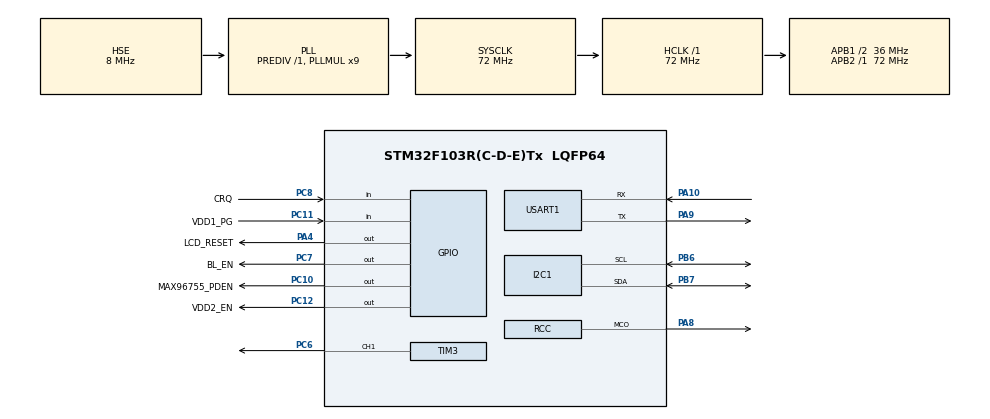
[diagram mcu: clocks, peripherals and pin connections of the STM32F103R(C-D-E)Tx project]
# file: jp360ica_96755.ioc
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I2C1.DualAddressMode=I2C_DUALADDRESS_DISABLE
I2C1.GeneralCallMode=I2C_GENERALCALL_DISABLE
I2C1.I2C_Mode=I2C_Standard
I2C1.NoStretchMode=I2C_NOSTRETCH_DISABLE
Mcu.Family=STM32F1
Mcu.Name=STM32F103R(C-D-E)Tx
Mcu.Package=LQFP64
NVIC.PriorityGroup=NVIC_PRIORITYGROUP_4
PA10.Mode=Asynchronous
PA10.Signal=USART1_RX
PA13.Mode=Serial_Wire
PA13.Signal=SYS_JTMS-SWDIO
PA14.Mode=Serial_Wire
PA14.Signal=SYS_JTCK-SWCLK
PA4.GPIO_Label=LCD_RESET
PA4.Signal=GPIO_Output
PA8.Mode=Clock-out
PA8.Signal=RCC_MCO
PA9.Mode=Asynchronous
PA9.Signal=USART1_TX
PB6.Mode=I2C
PB6.Signal=I2C1_SCL
PB7.Mode=I2C
PB7.Signal=I2C1_SDA
PC10.GPIO_Label=MAX96755_PDEN
PC10.GPIO_Speed=GPIO_SPEED_FREQ_HIGH
PC10.Signal=GPIO_Output
PC11.GPIO_Label=VDD1_PG
PC11.Signal=GPIO_Input
PC12.GPIO_Label=VDD2_EN
PC12.GPIO_Speed=GPIO_SPEED_FREQ_HIGH
PC12.Signal=GPIO_Output
PC6.Signal=S_TIM3_CH1
PC7.GPIO_Label=BL_EN
PC7.Signal=GPIO_Output
PC8.GPIO_Label=CRQ
PC8.GPIO_PuPd=GPIO_PULLUP
PC8.Signal=GPIO_Input
PD0-OSC_IN.Mode=HSE-External-Oscillator
PD0-OSC_IN.Signal=RCC_OSC_IN
PD1-OSC_OUT.Mode=HSE-External-Oscillator
PD1-OSC_OUT.Signal=RCC_OSC_OUT
ProjectManager.HeapSize=0x200
ProjectManager.StackSize=0x400
ProjectManager.TargetToolchain=MDK-ARM V5
RCC.AHBFreq_Value=72000000
RCC.APB1CLKDivider=RCC_HCLK_DIV2
RCC.APB1Freq_Value=36000000
RCC.APB1TimFreq_Value=72000000
RCC.APB2Freq_Value=72000000
RCC.APB2TimFreq_Value=72000000
RCC.HCLKFreq_Value=72000000
RCC.PLLMUL=RCC_PLL_MUL9
RCC.PLLSourceVirtual=RCC_PLLSOURCE_HSE
RCC.RCC_MCOSource=RCC_MCO1SOURCE_PLLCLK
RCC.SYSCLKFreq_VALUE=72000000
RCC.SYSCLKSource=RCC_SYSCLKSOURCE_PLLCLK
RCC.USBFreq_Value=72000000
SH.S_TIM3_CH1.0=TIM3_CH1,PWM Generation1 CH1
TIM3.Channel-PWM\ Generation1\ CH1=TIM_CHANNEL_1
TIM3.Period=1000-1
TIM3.Prescaler=72-1
USART1.VirtualMode=VM_ASYNC
VP_TIM3_VS_ClockSourceINT.Mode=Internal
board=custom

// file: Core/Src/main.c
/* USER CODE BEGIN Header */
/**
  ******************************************************************************
  * @file           : main.c
  * @brief          : Main program body
  ******************************************************************************
  * @attention
  *
  * Copyright (c) 2024 STMicroelectronics.
  * All rights reserved.
  *
  * This software is licensed under terms that can be found in the LICENSE file
  * in the root directory of this software component.
  * If no LICENSE file comes with this software, it is provided AS-IS.
  *
  ******************************************************************************
  */
/* USER CODE END Header */
#include "main.h"

/* USER CODE BEGIN Includes */
#include "task.h"
#include "MAX96755.h"
/* USER CODE END Includes */

I2C_HandleTypeDef hi2c1;

TIM_HandleTypeDef htim3;

UART_HandleTypeDef huart1;

/* USER CODE BEGIN PV */
__attribute__((used)) uint64_t i = 0x1122334455667788;

// --- 新增：极简通讯指令标志位 ---
volatile uint8_t rx_cmd_ready = 0;
volatile uint8_t rx_cmd_val = 0;
volatile uint8_t rx_screen_res = 0;
volatile uint8_t rx_lvds_mode = 0;
volatile uint8_t rx_screen_pattern = 0;
volatile uint16_t rx_timing_ha = 0;
volatile uint16_t rx_timing_va = 0;
volatile uint16_t rx_timing_fps_x10 = 0;
volatile uint32_t rx_timing_pclk_hz = 0;
volatile uint16_t rx_timing_hbp = 0;
volatile uint16_t rx_timing_hfp = 0;
volatile uint16_t rx_timing_vbp = 0;
volatile uint16_t rx_timing_vfp = 0;
volatile uint8_t rx_timing_lvds = 0;
volatile uint8_t rx_timing_pattern = 0;
/* USER CODE END PV */

void SystemClock_Config(void);
static void MX_GPIO_Init(void);
static void MX_I2C1_Init(void);
static void MX_USART1_UART_Init(void);
static void MX_TIM3_Init(void);

/* USER CODE BEGIN 0 */

void waitforiotimeout(GPIO_PinState level, uint32_t timeout)
{
  uint32_t start = HAL_GetTick();
  GPIO_PinState state = HAL_GPIO_ReadPin(CRQ_GPIO_Port, CRQ_Pin);
  while(state != level) {
    if(HAL_GetTick() - start > timeout) {
      return;
    }
    state = HAL_GPIO_ReadPin(CRQ_GPIO_Port, CRQ_Pin);
  }
}

/* USER CODE END 0 */

int main(void)
{

  /* MCU Configuration--------------------------------------------------------*/

  /* Reset of all peripherals, Initializes the Flash interface and the Systick. */
  HAL_Init();

  /* Configure the system clock */
  SystemClock_Config();

  /* Initialize all configured peripherals */
  MX_GPIO_Init();
  MX_I2C1_Init();
  MX_USART1_UART_Init();
  MX_TIM3_Init();
  /* USER CODE BEGIN 2 */
  HAL_Delay(1000);
  sys_init();

  EN_BL();
  HAL_TIM_PWM_Start(&htim3, TIM_CHANNEL_1);

  // 1. 默认上电：1920x1080 + 双路 LVDS + 棋盘格
  max96755_apply_screen_preset(0, 0, 1);

  // 2. 强行打开 USART1 的总中断和寄存器接收（极其重要！）
  HAL_NVIC_SetPriority(USART1_IRQn, 0, 0);
  HAL_NVIC_EnableIRQ(USART1_IRQn);
  __HAL_UART_ENABLE_IT(&huart1, UART_IT_RXNE);
  /* USER CODE END 2 */

  /* Infinite loop */
  /* USER CODE BEGIN WHILE */
  while (1)
  {
    // --- 新增：响应上位机画面切换指令 ---
    if (rx_cmd_ready == 1)
    {
        rx_cmd_ready = 0;
        if (rx_cmd_val == 0x01) {
            max96755_apply_screen_preset(0, 0, 0);
            HAL_UART_Transmit(&huart1, (uint8_t*)"[MCU] Switch to ColorBar OK (1920/dual)\n", 40, 100);
        }
        else if (rx_cmd_val == 0x02) {
            max96755_apply_screen_preset(0, 0, 1);
            HAL_UART_Transmit(&huart1, (uint8_t*)"[MCU] Switch to CheckBoard OK (1920/dual)\n", 42, 100);
        }
        else if (rx_cmd_val == 0x10) {
            uint8_t r = rx_screen_res & 1;
            uint8_t l = rx_lvds_mode & 1;
            uint8_t p = rx_screen_pattern & 1;
            max96755_apply_screen_preset(r, l, p);
            {
              static const char ack[] = "[MCU] Screen preset applied OK\n";
              HAL_UART_Transmit(&huart1, (uint8_t *)ack, sizeof(ack) - 1U, 100);
            }
        }
        else if (rx_cmd_val == 0x11) {
            max96755_apply_user_timing(
                rx_timing_ha,
                rx_timing_va,
                rx_timing_fps_x10,
                (uint8_t)(rx_timing_lvds & 1U),
                (uint8_t)(rx_timing_pattern & 1U));
            {
              static const char ack[] = "[MCU] Custom timing (MAX96755) OK\n";
              HAL_UART_Transmit(&huart1, (uint8_t *)ack, sizeof(ack) - 1U, 100);
            }
        }
        else if (rx_cmd_val == 0x12) {
            max96755_apply_user_timing_pclk(
                rx_timing_ha,
                rx_timing_va,
                rx_timing_fps_x10,
                rx_timing_pclk_hz,
                (uint8_t)(rx_timing_lvds & 1U),
                (uint8_t)(rx_timing_pattern & 1U));
            {
              static const char ack[] = "[MCU] Custom timing+PCLK (MAX96755) OK\n";
              HAL_UART_Transmit(&huart1, (uint8_t *)ack, sizeof(ack) - 1U, 100);
            }
        }
        else if (rx_cmd_val == 0x13) {
            max96755_apply_user_timing_full(
                rx_timing_ha, rx_timing_va, rx_timing_fps_x10, rx_timing_pclk_hz,
                rx_timing_hbp, rx_timing_hfp, rx_timing_vbp, rx_timing_vfp,
                (uint8_t)(rx_timing_lvds & 1U), (uint8_t)(rx_timing_pattern & 1U));
            {
              static const char ack[] = "[MCU] Custom timing+PCLK+Porch OK\n";
              HAL_UART_Transmit(&huart1, (uint8_t *)ack, sizeof(ack) - 1U, 100);
            }
        }
        // =======================================================
        // --- 终极验货：无视视频时序，直接掐断/开启背光电源！ ---
        else if (rx_cmd_val == 0x03) {
            DISEN_BL(); // 调用你原本的关背光函数
            HAL_UART_Transmit(&huart1, (uint8_t*)"[MCU] Backlight OFF OK\n", 23, 100);
        }
        else if (rx_cmd_val == 0x04) {
            EN_BL();    // 调用你原本的开背光函数
            HAL_UART_Transmit(&huart1, (uint8_t*)"[MCU] Backlight ON OK\n", 22, 100);
        }
        // =======================================================
    }

    static uint8_t state_flag = 0;//芯片在线不在线
    static uint32_t c_time = 0;
    if(max96752_check_chip()) {
      if(state_flag == 0) {
        //TODO: config 86752
        HAL_Delay(3000);
        max96752_init_config();
        uint8_t factory[7] = {0x1A, 0x00, 0x00, 0x00, 0x00, 0x00, 0x1A}; //第一个是ID, 4个data，1个ext, 1个checksum
        HAL_I2C_Master_Transmit(&hi2c1, 0x34, factory, 7, 100);
        c_time = HAL_GetTick();
        HAL_Delay(50);
        HAL_UART_Transmit(&huart1, "_____NEW_DEVICE_____\n", 63, 100);
      }

	    state_flag = 1;
    }else {
      state_flag = 0;
    }

    if(state_flag == 1) {
      if((HAL_GetTick() - c_time) % 59700 <= 55000){
        //pwm = 1;
        __HAL_TIM_SetCompare(&htim3, TIM_CHANNEL_1, 1000);
      }else if((HAL_GetTick() - c_time) % 59700 <= 59500) {
        //pwm = 0.1;
        __HAL_TIM_SetCompare(&htim3, TIM_CHANNEL_1, 100);
      }else {
        __HAL_TIM_SetCompare(&htim3, TIM_CHANNEL_1, 1000);
      }

	  HAL_Delay(50);
    static uint32_t last_c = 0;
    static uint32_t c =  0;
    static uint8_t inquire_flag = 1;//询问标志位
    c = (HAL_GetTick() - c_time) % 2000;
    if(last_c > c) {
      inquire_flag = 1; //每隔2秒询问一次
    }else {
      inquire_flag = 0; //不询问
    }
    last_c = c;

    if(inquire_flag) {
      //询问命令
      uint8_t inquire[7] = {0x81, 0x00, 0x00, 0x00, 0x00, 0x00, 0x81}; //第一个是ID, 4个data，1个ext, 1个checksum
      HAL_I2C_Master_Transmit(&hi2c1, 0x34, inquire, 7, 100);

      //读取数据
      uint8_t _0x46[11] = {0};
      // while(HAL_GPIO_ReadPin(CRQ_GPIO_Port, CRQ_Pin) != GPIO_PIN_RESET);
      waitforiotimeout(GPIO_PIN_RESET, 100);
      HAL_I2C_Master_Receive(&hi2c1, 0x34, _0x46, 11, 100);

      uint8_t _0x48[11] = {0};
      waitforiotimeout(GPIO_PIN_RESET, 100);
      HAL_I2C_Master_Receive(&hi2c1, 0x34, _0x48, 11, 100);

      uint8_t _0x4A[11] = {0};
      waitforiotimeout(GPIO_PIN_RESET, 100);
      HAL_I2C_Master_Receive(&hi2c1, 0x34, _0x4A, 11, 100);

      uint8_t _0x4A_E[12] = {0};
      HAL_I2C_Master_Receive(&hi2c1, 0x34, _0x4A_E, 12, 100);

      uint8_t _0x4B[11] = {0};
      waitforiotimeout(GPIO_PIN_RESET, 100);
      HAL_I2C_Master_Receive(&hi2c1, 0x34, _0x4B, 11, 100);

      uint8_t _0x4B_E[12] = {0};
      HAL_I2C_Master_Receive(&hi2c1, 0x34, _0x4B_E, 12, 100);

      uint8_t _0x4C[11] = {0};
      waitforiotimeout(GPIO_PIN_RESET, 100);
      HAL_I2C_Master_Receive(&hi2c1, 0x34, _0x4C, 11, 100);

      uint8_t _0x4C_E[11] = {0};
      HAL_I2C_Master_Receive(&hi2c1, 0x34, _0x4C_E, 11, 100);

      //发送信息
    HAL_UART_Transmit(&huart1, "state:    ", 10, 100);
    if(_0x48[1] == 0)
      HAL_UART_Transmit(&huart1, "OK!\n", 4, 100);
    else
      HAL_UART_Transmit(&huart1, "FAIL!\n", 6, 100);

    HAL_UART_Transmit(&huart1, "Temperature: ", 13, 100);
    char t[2]	= {_0x48[5]/10 + '0', _0x48[5]%10 + '0'};
    HAL_UART_Transmit(&huart1, t, 2, 100);
    HAL_UART_Transmit(&huart1, "\n", 1, 100);

    HAL_UART_Transmit(&huart1, "software version: ", 18, 100);
    HAL_UART_Transmit(&huart1, &_0x4A[1], 8, 100);
    HAL_UART_Transmit(&huart1, &_0x4A_E[1], 9, 100);
    HAL_UART_Transmit(&huart1, "\n", 1, 100);

    HAL_UART_Transmit(&huart1, "hardware version: ", 18, 100);
    HAL_UART_Transmit(&huart1, &_0x4B[1], 8, 100);
    HAL_UART_Transmit(&huart1, &_0x4B_E[1], 9, 100);
    HAL_UART_Transmit(&huart1, "\n", 1, 100);

    }
    HAL_Delay(100);
  }
    /* USER CODE END WHILE */

  }
}

void SystemClock_Config(void)
{
  RCC_OscInitTypeDef RCC_OscInitStruct = {0};
  RCC_ClkInitTypeDef RCC_ClkInitStruct = {0};

  /** Initializes the RCC Oscillators according to the specified parameters
  * in the RCC_OscInitTypeDef structure.
  */
  RCC_OscInitStruct.OscillatorType = RCC_OSCILLATORTYPE_HSE;
  RCC_OscInitStruct.HSEState = RCC_HSE_ON;
  RCC_OscInitStruct.HSEPredivValue = RCC_HSE_PREDIV_DIV1;
  RCC_OscInitStruct.HSIState = RCC_HSI_ON;
  RCC_OscInitStruct.PLL.PLLState = RCC_PLL_ON;
  RCC_OscInitStruct.PLL.PLLSource = RCC_PLLSOURCE_HSE;
  RCC_OscInitStruct.PLL.PLLMUL = RCC_PLL_MUL9;
  if (HAL_RCC_OscConfig(&RCC_OscInitStruct) != HAL_OK)
  {
    Error_Handler();
  }

  /** Initializes the CPU, AHB and APB buses clocks
  */
  RCC_ClkInitStruct.ClockType = RCC_CLOCKTYPE_HCLK|RCC_CLOCKTYPE_SYSCLK
                              |RCC_CLOCKTYPE_PCLK1|RCC_CLOCKTYPE_PCLK2;
  RCC_ClkInitStruct.SYSCLKSource = RCC_SYSCLKSOURCE_PLLCLK;
  RCC_ClkInitStruct.AHBCLKDivider = RCC_SYSCLK_DIV1;
  RCC_ClkInitStruct.APB1CLKDivider = RCC_HCLK_DIV2;
  RCC_ClkInitStruct.APB2CLKDivider = RCC_HCLK_DIV1;

  if (HAL_RCC_ClockConfig(&RCC_ClkInitStruct, FLASH_LATENCY_2) != HAL_OK)
  {
    Error_Handler();
  }
  HAL_RCC_MCOConfig(RCC_MCO, RCC_MCO1SOURCE_PLLCLK, RCC_MCODIV_1);
}

static void MX_I2C1_Init(void)
{

  hi2c1.Instance = I2C1;
  hi2c1.Init.ClockSpeed = 100000;
  hi2c1.Init.DutyCycle = I2C_DUTYCYCLE_2;
  hi2c1.Init.OwnAddress1 = 0;
  hi2c1.Init.AddressingMode = I2C_ADDRESSINGMODE_7BIT;
  hi2c1.Init.DualAddressMode = I2C_DUALADDRESS_DISABLE;
  hi2c1.Init.OwnAddress2 = 0;
  hi2c1.Init.GeneralCallMode = I2C_GENERALCALL_DISABLE;
  hi2c1.Init.NoStretchMode = I2C_NOSTRETCH_DISABLE;
  if (HAL_I2C_Init(&hi2c1) != HAL_OK)
  {
    Error_Handler();
  }

}

static void MX_TIM3_Init(void)
{

  TIM_ClockConfigTypeDef sClockSourceConfig = {0};
  TIM_MasterConfigTypeDef sMasterConfig = {0};
  TIM_OC_InitTypeDef sConfigOC = {0};

  htim3.Instance = TIM3;
  htim3.Init.Prescaler = 72-1;
  htim3.Init.CounterMode = TIM_COUNTERMODE_UP;
  htim3.Init.Period = 1000-1;
  htim3.Init.ClockDivision = TIM_CLOCKDIVISION_DIV1;
  htim3.Init.AutoReloadPreload = TIM_AUTORELOAD_PRELOAD_DISABLE;
  if (HAL_TIM_Base_Init(&htim3) != HAL_OK)
  {
    Error_Handler();
  }
  sClockSourceConfig.ClockSource = TIM_CLOCKSOURCE_INTERNAL;
  if (HAL_TIM_ConfigClockSource(&htim3, &sClockSourceConfig) != HAL_OK)
  {
    Error_Handler();
  }
  if (HAL_TIM_PWM_Init(&htim3) != HAL_OK)
  {
    Error_Handler();
  }
  sMasterConfig.MasterOutputTrigger = TIM_TRGO_RESET;
  sMasterConfig.MasterSlaveMode = TIM_MASTERSLAVEMODE_DISABLE;
  if (HAL_TIMEx_MasterConfigSynchronization(&htim3, &sMasterConfig) != HAL_OK)
  {
    Error_Handler();
  }
  sConfigOC.OCMode = TIM_OCMODE_PWM1;
  sConfigOC.Pulse = 0;
  sConfigOC.OCPolarity = TIM_OCPOLARITY_HIGH;
  sConfigOC.OCFastMode = TIM_OCFAST_DISABLE;
  if (HAL_TIM_PWM_ConfigChannel(&htim3, &sConfigOC, TIM_CHANNEL_1) != HAL_OK)
  {
    Error_Handler();
  }
  HAL_TIM_MspPostInit(&htim3);

}

static void MX_USART1_UART_Init(void)
{

  huart1.Instance = USART1;
  huart1.Init.BaudRate = 115200;
  huart1.Init.WordLength = UART_WORDLENGTH_8B;
  huart1.Init.StopBits = UART_STOPBITS_1;
  huart1.Init.Parity = UART_PARITY_NONE;
  huart1.Init.Mode = UART_MODE_TX_RX;
  huart1.Init.HwFlowCtl = UART_HWCONTROL_NONE;
  huart1.Init.OverSampling = UART_OVERSAMPLING_16;
  if (HAL_UART_Init(&huart1) != HAL_OK)
  {
    Error_Handler();
  }

}

static void MX_GPIO_Init(void)
{
  GPIO_InitTypeDef GPIO_InitStruct = {0};

  /* GPIO Ports Clock Enable */
  __HAL_RCC_GPIOD_CLK_ENABLE();
  __HAL_RCC_GPIOA_CLK_ENABLE();
  __HAL_RCC_GPIOC_CLK_ENABLE();
  __HAL_RCC_GPIOB_CLK_ENABLE();

  /*Configure GPIO pin Output Level */
  HAL_GPIO_WritePin(LCD_RESET_GPIO_Port, LCD_RESET_Pin, GPIO_PIN_RESET);

  /*Configure GPIO pin Output Level */
  HAL_GPIO_WritePin(GPIOC, BL_EN_Pin|MAX96755_PDEN_Pin|VDD2_EN_Pin, GPIO_PIN_RESET);

  /*Configure GPIO pin : LCD_RESET_Pin */
  GPIO_InitStruct.Pin = LCD_RESET_Pin;
  GPIO_InitStruct.Mode = GPIO_MODE_OUTPUT_PP;
  GPIO_InitStruct.Pull = GPIO_NOPULL;
  GPIO_InitStruct.Speed = GPIO_SPEED_FREQ_LOW;
  HAL_GPIO_Init(LCD_RESET_GPIO_Port, &GPIO_InitStruct);

  /*Configure GPIO pin : BL_EN_Pin */
  GPIO_InitStruct.Pin = BL_EN_Pin;
  GPIO_InitStruct.Mode = GPIO_MODE_OUTPUT_PP;
  GPIO_InitStruct.Pull = GPIO_NOPULL;
  GPIO_InitStruct.Speed = GPIO_SPEED_FREQ_LOW;
  HAL_GPIO_Init(BL_EN_GPIO_Port, &GPIO_InitStruct);

  /*Configure GPIO pin : CRQ_Pin */
  GPIO_InitStruct.Pin = CRQ_Pin;
  GPIO_InitStruct.Mode = GPIO_MODE_INPUT;
  GPIO_InitStruct.Pull = GPIO_PULLUP;
  HAL_GPIO_Init(CRQ_GPIO_Port, &GPIO_InitStruct);

  /*Configure GPIO pin : PA8 */
  GPIO_InitStruct.Pin = GPIO_PIN_8;
  GPIO_InitStruct.Mode = GPIO_MODE_AF_PP;
  GPIO_InitStruct.Speed = GPIO_SPEED_FREQ_LOW;
  HAL_GPIO_Init(GPIOA, &GPIO_InitStruct);

  /*Configure GPIO pins : MAX96755_PDEN_Pin VDD2_EN_Pin */
  GPIO_InitStruct.Pin = MAX96755_PDEN_Pin|VDD2_EN_Pin;
  GPIO_InitStruct.Mode = GPIO_MODE_OUTPUT_PP;
  GPIO_InitStruct.Pull = GPIO_NOPULL;
  GPIO_InitStruct.Speed = GPIO_SPEED_FREQ_HIGH;
  HAL_GPIO_Init(GPIOC, &GPIO_InitStruct);

  /*Configure GPIO pin : VDD1_PG_Pin */
  GPIO_InitStruct.Pin = VDD1_PG_Pin;
  GPIO_InitStruct.Mode = GPIO_MODE_INPUT;
  GPIO_InitStruct.Pull = GPIO_NOPULL;
  HAL_GPIO_Init(VDD1_PG_GPIO_Port, &GPIO_InitStruct);

}

/* USER CODE BEGIN 4 */
// --- 终极绝杀：纯底层寄存器接收 ---
void Custom_UART_RX_Handler(void)
{
    if ((USART1->SR & (USART_SR_ORE | USART_SR_NE | USART_SR_FE)) != RESET) {
        volatile uint32_t tmp = USART1->SR;
        tmp = USART1->DR;
        (void)tmp;
    }

    if ((USART1->SR & USART_SR_RXNE) != RESET) {
        uint8_t data = USART1->DR;

        // 【硬件回声镜】：收到什么瞬间弹回给电脑！
        while((USART1->SR & (1<<7)) == 0);
        USART1->DR = data;

        static uint8_t state = 0;
        static uint8_t cmd = 0;
        static uint8_t timing_blob8[8];
        static uint8_t timing_blob12[12];
        static uint8_t timing_blob20[20];

        switch (state) {
        case 0:
            if (data == 0xAA) {
                state = 1;
            }
            break;
        case 1:
            cmd = data;
            if (cmd == 0x10) {
                state = 10;
            } else if (cmd == 0x11) {
                state = 20;
            } else if (cmd == 0x12) {
                state = 40;
            } else if (cmd == 0x13) {
                state = 60;
            } else if (cmd >= 0x01 && cmd <= 0x04) {
                state = 2;
            } else {
                state = 0;
            }
            break;
        case 2:
            if (data == 0x55) {
                rx_cmd_val = cmd;
                rx_cmd_ready = 1;
            }
            state = 0;
            break;
        case 10:
            rx_screen_res = data;
            state = 11;
            break;
        case 11:
            rx_lvds_mode = data;
            state = 12;
            break;
        case 12:
            rx_screen_pattern = data;
            state = 13;
            break;
        case 13:
            if (data == 0x55) {
                rx_cmd_val = 0x10;
                rx_cmd_ready = 1;
            }
            state = 0;
            break;
        case 20:
            timing_blob8[0] = data;
            state = 21;
            break;
        case 21:
            timing_blob8[1] = data;
            state = 22;
            break;
        case 22:
            timing_blob8[2] = data;
            state = 23;
            break;
        case 23:
            timing_blob8[3] = data;
            state = 24;
            break;
        case 24:
            timing_blob8[4] = data;
            state = 25;
            break;
        case 25:
            timing_blob8[5] = data;
            state = 26;
            break;
        case 26:
            timing_blob8[6] = data;
            state = 27;
            break;
        case 27:
            timing_blob8[7] = data;
            state = 28;
            break;
        case 28:
            if (data == 0x55) {
                rx_timing_ha = (uint16_t)timing_blob8[0] | ((uint16_t)timing_blob8[1] << 8);
                rx_timing_va = (uint16_t)timing_blob8[2] | ((uint16_t)timing_blob8[3] << 8);
                rx_timing_fps_x10 = (uint16_t)timing_blob8[4] | ((uint16_t)timing_blob8[5] << 8);
                rx_timing_pclk_hz = 0;
                rx_timing_lvds = timing_blob8[6];
                rx_timing_pattern = timing_blob8[7];
                rx_cmd_val = 0x11;
                rx_cmd_ready = 1;
            }
            state = 0;
            break;
        case 40:
            timing_blob12[0] = data;
            state = 41;
            break;
        case 41:
            timing_blob12[1] = data;
            state = 42;
            break;
        case 42:
            timing_blob12[2] = data;
            state = 43;
            break;
        case 43:
            timing_blob12[3] = data;
            state = 44;
            break;
        case 44:
            timing_blob12[4] = data;
            state = 45;
            break;
        case 45:
            timing_blob12[5] = data;
            state = 46;
            break;
        case 46:
            timing_blob12[6] = data;
            state = 47;
            break;
        case 47:
            timing_blob12[7] = data;
            state = 48;
            break;
        case 48:
            timing_blob12[8] = data;
            state = 49;
            break;
        case 49:
            timing_blob12[9] = data;
            state = 50;
            break;
        case 50:
            timing_blob12[10] = data;
            state = 51;
            break;
        case 51:
            timing_blob12[11] = data;
            state = 52;
            break;
        case 52:
            if (data == 0x55) {
                rx_timing_ha = (uint16_t)timing_blob12[0] | ((uint16_t)timing_blob12[1] << 8);
                rx_timing_va = (uint16_t)timing_blob12[2] | ((uint16_t)timing_blob12[3] << 8);
                rx_timing_fps_x10 = (uint16_t)timing_blob12[4] | ((uint16_t)timing_blob12[5] << 8);
                rx_timing_pclk_hz = (uint32_t)timing_blob12[6]
                                  | ((uint32_t)timing_blob12[7] << 8)
                                  | ((uint32_t)timing_blob12[8] << 16)
                                  | ((uint32_t)timing_blob12[9] << 24);
                rx_timing_lvds = timing_blob12[10];
                rx_timing_pattern = timing_blob12[11];
                rx_cmd_val = 0x12;
                rx_cmd_ready = 1;
            }
            state = 0;
            break;
        case 60: timing_blob20[0] = data; state = 61; break;
        case 61: timing_blob20[1] = data; state = 62; break;
        case 62: timing_blob20[2] = data; state = 63; break;
        case 63: timing_blob20[3] = data; state = 64; break;
        case 64: timing_blob20[4] = data; state = 65; break;
        case 65: timing_blob20[5] = data; state = 66; break;
        case 66: timing_blob20[6] = data; state = 67; break;
        case 67: timing_blob20[7] = data; state = 68; break;
        case 68: timing_blob20[8] = data; state = 69; break;
        case 69: timing_blob20[9] = data; state = 70; break;
        case 70: timing_blob20[10] = data; state = 71; break;
        case 71: timing_blob20[11] = data; state = 72; break;
        case 72: timing_blob20[12] = data; state = 73; break;
        case 73: timing_blob20[13] = data; state = 74; break;
        case 74: timing_blob20[14] = data; state = 75; break;
        case 75: timing_blob20[15] = data; state = 76; break;
        case 76: timing_blob20[16] = data; state = 77; break;
        case 77: timing_blob20[17] = data; state = 78; break;
        case 78: timing_blob20[18] = data; state = 79; break;
        case 79: timing_blob20[19] = data; state = 80; break;
        case 80:
            if (data == 0x55) {
                rx_timing_ha = (uint16_t)timing_blob20[0] | ((uint16_t)timing_blob20[1] << 8);
                rx_timing_va = (uint16_t)timing_blob20[2] | ((uint16_t)timing_blob20[3] << 8);
                rx_timing_fps_x10 = (uint16_t)timing_blob20[4] | ((uint16_t)timing_blob20[5] << 8);
                rx_timing_pclk_hz = (uint32_t)timing_blob20[6]
                                  | ((uint32_t)timing_blob20[7] << 8)
                                  | ((uint32_t)timing_blob20[8] << 16)
                                  | ((uint32_t)timing_blob20[9] << 24);
                rx_timing_hbp = (uint16_t)timing_blob20[10] | ((uint16_t)timing_blob20[11] << 8);
                rx_timing_hfp = (uint16_t)timing_blob20[12] | ((uint16_t)timing_blob20[13] << 8);
                rx_timing_vbp = (uint16_t)timing_blob20[14] | ((uint16_t)timing_blob20[15] << 8);
                rx_timing_vfp = (uint16_t)timing_blob20[16] | ((uint16_t)timing_blob20[17] << 8);
                rx_timing_lvds = timing_blob20[18];
                rx_timing_pattern = timing_blob20[19];
                rx_cmd_val = 0x13;
                rx_cmd_ready = 1;
            }
            state = 0;
            break;
        default:
            state = 0;
            break;
        }
    }
}
/* USER CODE END 4 */

void Error_Handler(void)
{
  __disable_irq();
  while (1)
  {
  }
}
